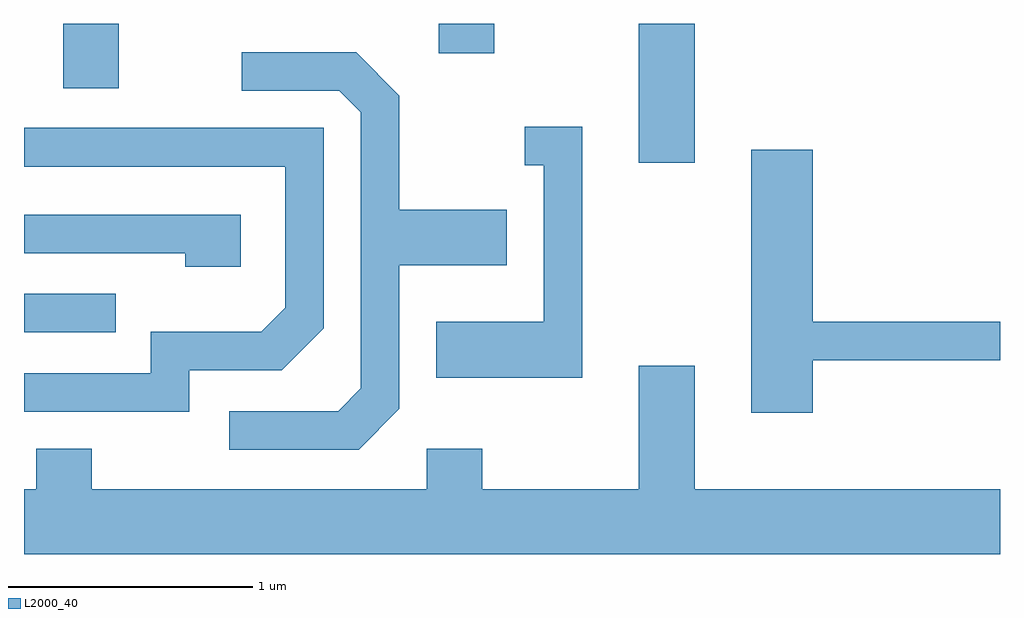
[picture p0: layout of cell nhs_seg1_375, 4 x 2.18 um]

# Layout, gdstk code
import gdstk
lib = gdstk.Library(unit=1e-6, precision=1e-09)
def R(c, l, rs):  # rectangles x0, y0, x1, y1
    for r in rs: c.add(gdstk.rectangle(r[:2], r[2:], *l))
def P(c, l, *ps):  # polygons
    for p in ps: c.add(gdstk.Polygon(p, *l))
L2000_40 = (2000, 40)

nhs_seg1_375 = lib.new_cell('nhs_seg1_375')
R(nhs_seg1_375, L2000_40, [(195.611,940.446,195.988,940.604), (198.131,941.141,198.359,941.712), (195.771,941.446,195.999,941.712), (197.311,941.591,197.539,941.712)])
P(nhs_seg1_375, L2000_40, [(197.149,940.134),(197.149,940.721),(197.589,940.721),(197.589,940.949),(197.149,940.949),(197.149,941.417),(196.972,941.594),(196.503,941.594),(196.503,941.436),(196.904,941.436),(196.991,941.349),(196.991,940.217),(196.899,940.124),(196.453,940.124),(196.453,939.966),(196.982,939.966)],
  [(197.899,941.289),(197.663,941.289),(197.663,941.131),(197.741,941.131),(197.741,940.489),(197.301,940.489),(197.301,940.261),(197.899,940.261)],
  [(196.289,940.291),(196.667,940.291),(196.839,940.464),(196.839,941.284),(195.611,941.284),(195.611,941.126),(196.681,941.126),(196.681,940.547),(196.584,940.449),(196.131,940.449),(196.131,940.279),(195.611,940.279),(195.611,940.121),(196.289,940.121)],
  [(198.844,940.331),(199.611,940.331),(199.611,940.489),(198.844,940.489),(198.844,941.194),(198.591,941.194),(198.591,940.116),(198.844,940.116)],
  [(196.499,940.929),(195.611,940.929),(195.611,940.771),(196.271,940.771),(196.271,940.716),(196.499,940.716)],
  [(199.611,939.804),(198.359,939.804),(198.359,940.309),(198.131,940.309),(198.131,939.804),(197.489,939.804),(197.489,939.969),(197.261,939.969),(197.261,939.804),(195.889,939.804),(195.889,939.969),(195.661,939.969),(195.661,939.804),(195.611,939.804),(195.611,939.536),(199.611,939.536)])

lib.write_gds('nhs_seg1_375.gds')
